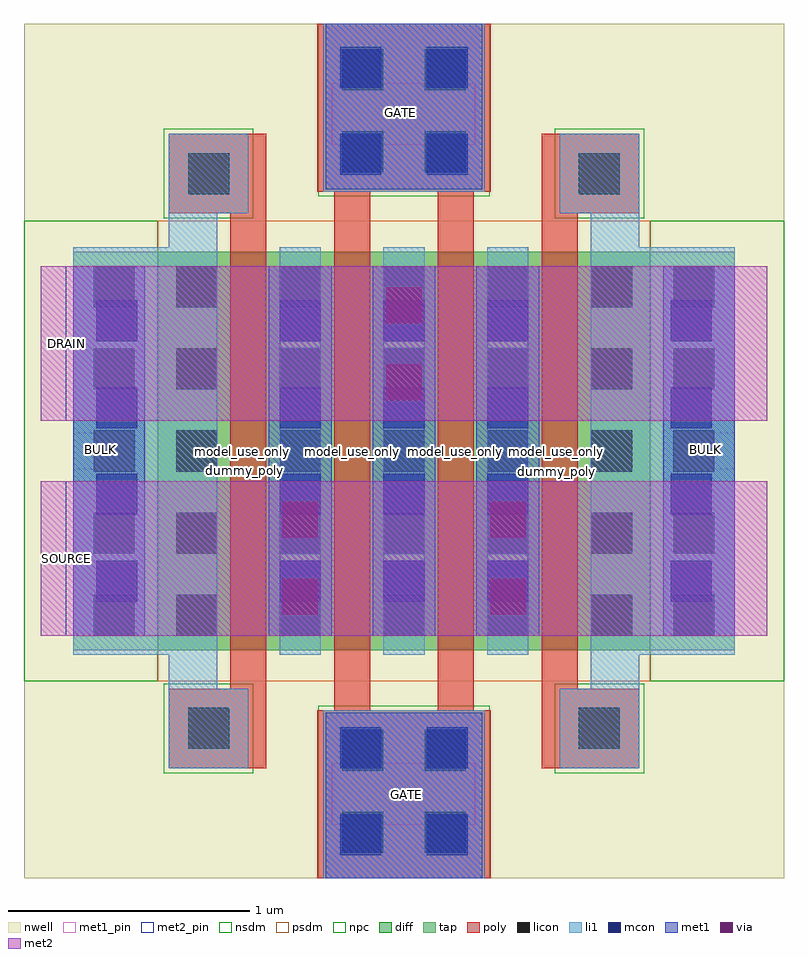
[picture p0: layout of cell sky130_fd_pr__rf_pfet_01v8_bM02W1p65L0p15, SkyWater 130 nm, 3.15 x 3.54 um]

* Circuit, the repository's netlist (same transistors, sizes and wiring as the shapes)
* Copyright 2020 The SkyWater PDK Authors
*
* Licensed under the Apache License, Version 2.0 (the "License");
* you may not use this file except in compliance with the License.
* You may obtain a copy of the License at
*
*     https://www.apache.org/licenses/LICENSE-2.0
*
* Unless required by applicable law or agreed to in writing, software
* distributed under the License is distributed on an "AS IS" BASIS,
* WITHOUT WARRANTIES OR CONDITIONS OF ANY KIND, either express or implied.
* See the License for the specific language governing permissions and
* limitations under the License.
*
* SPDX-License-Identifier: Apache-2.0


.subckt sky130_fd_pr__rf_pfet_01v8_bM02W1p65L0p15 BULK DRAIN GATE SOURCE
X0 SOURCE BULK BULK BULK sky130_fd_pr__pfet_01v8 w=1.65e+06u l=150000u
X1 SOURCE GATE DRAIN BULK sky130_fd_pr__pfet_01v8 w=1.65e+06u l=150000u
X2 DRAIN GATE SOURCE BULK sky130_fd_pr__pfet_01v8 w=1.65e+06u l=150000u
X3 BULK BULK SOURCE BULK sky130_fd_pr__pfet_01v8 w=1.65e+06u l=150000u
.ends

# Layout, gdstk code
import gdstk
lib = gdstk.Library(unit=1e-6, precision=1e-09)
def R(c, l, rs):  # rectangles x0, y0, x1, y1
    for r in rs: c.add(gdstk.rectangle(r[:2], r[2:], *l))
def A(c, l, x, y, w, h, nx, ny, dx, dy):  # array of equal rectangles
    R(c, l, [(x+i*dx, y+j*dy, x+i*dx+w, y+j*dy+h) for i in range(nx) for j in range(ny)])
def P(c, l, *ps):  # polygons
    for p in ps: c.add(gdstk.Polygon(p, *l))
nwell = (64, 20)
diff = (65, 20)
tap = (65, 44)
poly = (66, 20)
licon = (66, 44)
li1 = (67, 20)
mcon = (67, 44)
met1_pin = (68, 16)
met1 = (68, 20)
via = (68, 44)
met2_pin = (69, 16)
met2 = (69, 20)
nsdm = (93, 44)
psdm = (94, 20)
npc = (95, 20)

sky130_fd_pr__rf_pfet_01 = lib.new_cell('sky130_fd_pr__rf_pfet_01v8_bM02W1p65L0p15')
R(sky130_fd_pr__rf_pfet_01, nwell, [(0,0,3.15,3.54)])
R(sky130_fd_pr__rf_pfet_01, diff, [(0.555,0.945,2.595,2.595)])
R(sky130_fd_pr__rf_pfet_01, tap, [(0.205,0.945,0.555,2.595), (2.595,0.945,2.945,2.595)])
R(sky130_fd_pr__rf_pfet_01, poly, [(0.6,0.455,0.93,0.785), (0.855,0.455,1.005,3.085), (2.145,0.455,2.295,3.085), (2.22,0.455,2.55,0.785), (0.6,2.755,0.93,3.085), (2.22,2.755,2.55,3.085)])
P(sky130_fd_pr__rf_pfet_01, poly, [(1.935,0.695),(1.865,0.695),(1.865,2.845),(1.935,2.845),(1.935,3.54),(1.715,3.54),(1.715,0.695),(1.435,0.695),(1.435,2.845),(1.715,2.845),(1.715,3.54),(1.215,3.54),(1.215,2.845),(1.285,2.845),(1.285,0.695),(1.215,0.695),(1.215,0),(1.935,0)])
A(sky130_fd_pr__rf_pfet_01, licon, 0.29, 1.005, 0.17, 0.17, 1, 5, 0, 0.34)
A(sky130_fd_pr__rf_pfet_01, licon, 0.63, 1.005, 0.17, 0.17, 5, 5, 0.43, 0.34)
A(sky130_fd_pr__rf_pfet_01, licon, 2.69, 1.005, 0.17, 0.17, 1, 5, 0, 0.34)
R(sky130_fd_pr__rf_pfet_01, licon, [(1.32,0.105,1.49,0.275), (1.66,0.105,1.83,0.275), (1.32,0.445,1.49,0.615), (1.66,0.445,1.83,0.615), (0.68,0.535,0.85,0.705), (2.3,0.535,2.47,0.705), (0.68,2.835,0.85,3.005), (2.3,2.835,2.47,3.005), (1.32,2.925,1.49,3.095), (1.66,2.925,1.83,3.095), (1.32,3.265,1.49,3.435), (1.66,3.265,1.83,3.435)])
A(sky130_fd_pr__rf_pfet_01, li1, 1.06, 0.925, 0.17, 1.69, 3, 1, 0.43, 0)
R(sky130_fd_pr__rf_pfet_01, li1, [(1.24,0,1.91,0.695), (0.6,0.455,0.93,0.785), (2.22,0.455,2.55,0.785), (0.6,0.785,0.8,0.925), (2.35,0.785,2.55,0.925), (0.205,0.925,0.8,2.615), (2.35,0.925,2.945,2.615), (0.6,2.615,0.8,2.755), (2.35,2.615,2.55,2.755), (0.6,2.755,0.93,3.085), (2.22,2.755,2.55,3.085), (1.24,2.845,1.91,3.54)])
A(sky130_fd_pr__rf_pfet_01, mcon, 0.3, 1.145, 0.17, 0.17, 1, 4, 0, 0.36)
A(sky130_fd_pr__rf_pfet_01, mcon, 1.06, 1.145, 0.17, 0.17, 3, 4, 0.43, 0.36)
A(sky130_fd_pr__rf_pfet_01, mcon, 2.68, 1.145, 0.17, 0.17, 1, 4, 0, 0.36)
R(sky130_fd_pr__rf_pfet_01, mcon, [(1.31,0.095,1.48,0.265), (1.67,0.095,1.84,0.265), (1.31,0.455,1.48,0.625), (1.67,0.455,1.84,0.625), (1.31,2.915,1.48,3.085), (1.67,2.915,1.84,3.085), (1.31,3.275,1.48,3.445), (1.67,3.275,1.84,3.445)])
R(sky130_fd_pr__rf_pfet_01, met1_pin, [(1.275,0.22,1.87,0.475), (0.205,1.695,0.435,1.845), (2.715,1.695,2.945,1.845), (1.275,3.04,1.87,3.295)])
A(sky130_fd_pr__rf_pfet_01, met1, 1.015, 1.005, 0.26, 1.53, 3, 1, 0.43, 0)
R(sky130_fd_pr__rf_pfet_01, met1, [(1.25,0,1.9,0.685), (0.205,1.005,0.5,2.535), (2.65,1.005,2.945,2.535), (1.25,2.855,1.9,3.54)])
R(sky130_fd_pr__rf_pfet_01, via, [(1.07,1.09,1.22,1.24), (1.93,1.09,2.08,1.24), (1.07,1.41,1.22,1.56), (1.93,1.41,2.08,1.56), (1.5,1.98,1.65,2.13), (1.5,2.3,1.65,2.45)])
R(sky130_fd_pr__rf_pfet_01, met2_pin, [(0.07,1.005,0.175,1.645), (0.07,1.895,0.175,2.535)])
R(sky130_fd_pr__rf_pfet_01, met2, [(0.07,1.005,3.08,1.645), (0.07,1.895,3.08,2.535)])
R(sky130_fd_pr__rf_pfet_01, nsdm, [(0,0.815,0.555,2.725), (2.595,0.815,3.15,2.725)])
R(sky130_fd_pr__rf_pfet_01, psdm, [(0.555,0.815,2.595,2.725)])
R(sky130_fd_pr__rf_pfet_01, npc, [(1.22,0,1.93,0.715), (0.58,0.435,0.95,0.805), (2.2,0.435,2.57,0.805), (0.58,2.735,0.95,3.105), (2.2,2.735,2.57,3.105), (1.22,2.825,1.93,3.54)])
sky130_fd_pr__rf_pfet_01.add(gdstk.Label('dummy_poly', (0.915,1.69), layer=83, texttype=44))
sky130_fd_pr__rf_pfet_01.add(gdstk.Label('dummy_poly', (2.205,1.685), layer=83, texttype=44))
sky130_fd_pr__rf_pfet_01.add(gdstk.Label('GATE', (1.56,3.175), layer=68, texttype=5))
sky130_fd_pr__rf_pfet_01.add(gdstk.Label('GATE', (1.585,0.345), layer=68, texttype=5))
sky130_fd_pr__rf_pfet_01.add(gdstk.Label('BULK', (2.825,1.775), layer=68, texttype=16))
sky130_fd_pr__rf_pfet_01.add(gdstk.Label('BULK', (0.315,1.775), layer=68, texttype=16))
sky130_fd_pr__rf_pfet_01.add(gdstk.Label('model_use_only', (1.79,1.77), layer=66, texttype=83))
sky130_fd_pr__rf_pfet_01.add(gdstk.Label('model_use_only', (1.36,1.77), layer=66, texttype=83))
sky130_fd_pr__rf_pfet_01.add(gdstk.Label('model_use_only', (0.905,1.77), layer=66, texttype=83))
sky130_fd_pr__rf_pfet_01.add(gdstk.Label('model_use_only', (2.205,1.77), layer=66, texttype=83))
sky130_fd_pr__rf_pfet_01.add(gdstk.Label('SOURCE', (0.175,1.325), layer=69, texttype=5))
sky130_fd_pr__rf_pfet_01.add(gdstk.Label('DRAIN', (0.175,2.215), layer=69, texttype=5))

lib.write_gds('sky130_fd_pr__rf_pfet_01v8_bM02W1p65L0p15.gds')
